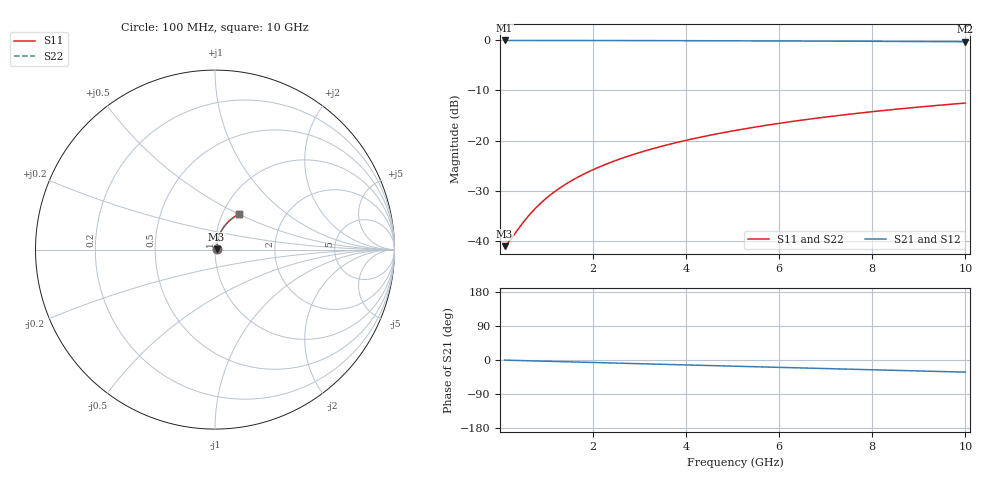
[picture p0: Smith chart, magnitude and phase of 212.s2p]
# Hz S RI R 50.00
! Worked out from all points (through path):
!   100 points, 100 MHz to 10 GHz, reference 50 ohm
!   highest |S21| = -0.07 dB at 100 MHz (marker M1); lowest = -0.3 dB at 10 GHz (marker M2)
!   group delay of S21, straight-line fit = 8.91 ps
!   lowest |S11| = -41.0 dB at 100 MHz (marker M3), VSWR 1.02, Z = 50.9 + j0.254 ohm
!   |S11| at or under -10 dB: start of sweep to end of sweep
!   |S22| runs from -41.0 to -12.5 dB; largest |S21 - S12| = 0
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1e8  0.00858 0.00249  0.9914 -0.00564  0.9914 -0.00564  0.00858 0.00249
2e8  0.00868 0.00498  0.9913 -0.0113  0.9913 -0.0113  0.00868 0.00498
5e8  0.00908 0.0124  0.9908 -0.0282  0.9908 -0.0282  0.00908 0.0124
6e8  0.00926 0.0149  0.9905 -0.0338  0.9905 -0.0338  0.00926 0.0149
7e8  0.00946 0.0174  0.9903 -0.0395  0.9903 -0.0395  0.00946 0.0174
9e8  0.00995 0.0224  0.9896 -0.0507  0.9896 -0.0507  0.00995 0.0224
1.1e9  0.0106 0.0273  0.9888 -0.062  0.9888 -0.062  0.0106 0.0273
1.3e9  0.0113 0.0322  0.9879 -0.0732  0.9879 -0.0732  0.0113 0.0322
1.5e9  0.0121 0.0371  0.9868 -0.0844  0.9868 -0.0844  0.0121 0.0371
1.8e9  0.0135 0.0445  0.9848 -0.1012  0.9848 -0.1012  0.0135 0.0445
2.1e9  0.0152 0.0517  0.9825 -0.1179  0.9825 -0.1179  0.0152 0.0517
2.5e9  0.0178 0.0613  0.979 -0.1401  0.979 -0.1401  0.0178 0.0613
2.9e9  0.0208 0.0707  0.9749 -0.1621  0.9749 -0.1621  0.0208 0.0707
3.4e9  0.0252 0.0823  0.9689 -0.1894  0.9689 -0.1894  0.0252 0.0823
3.8e9  0.0292 0.0913  0.9635 -0.2111  0.9635 -0.2111  0.0292 0.0913
4.2e9  0.0336 0.1002  0.9575 -0.2325  0.9575 -0.2325  0.0336 0.1002
5.1e9  0.0448 0.1192  0.942 -0.2799  0.942 -0.2799  0.0448 0.1192
5.9e9  0.0563 0.135  0.9261 -0.3209  0.9261 -0.3209  0.0563 0.135
6.7e9  0.069 0.1497  0.9082 -0.3607  0.9082 -0.3607  0.069 0.1497
7.5e9  0.083 0.1631  0.8884 -0.3993  0.8884 -0.3993  0.083 0.1631
8.4e9  0.0999 0.1765  0.8641 -0.441  0.8641 -0.441  0.0999 0.1765
1e10  0.1326 0.1958  0.8161 -0.5104  0.8161 -0.5104  0.1326 0.1958
